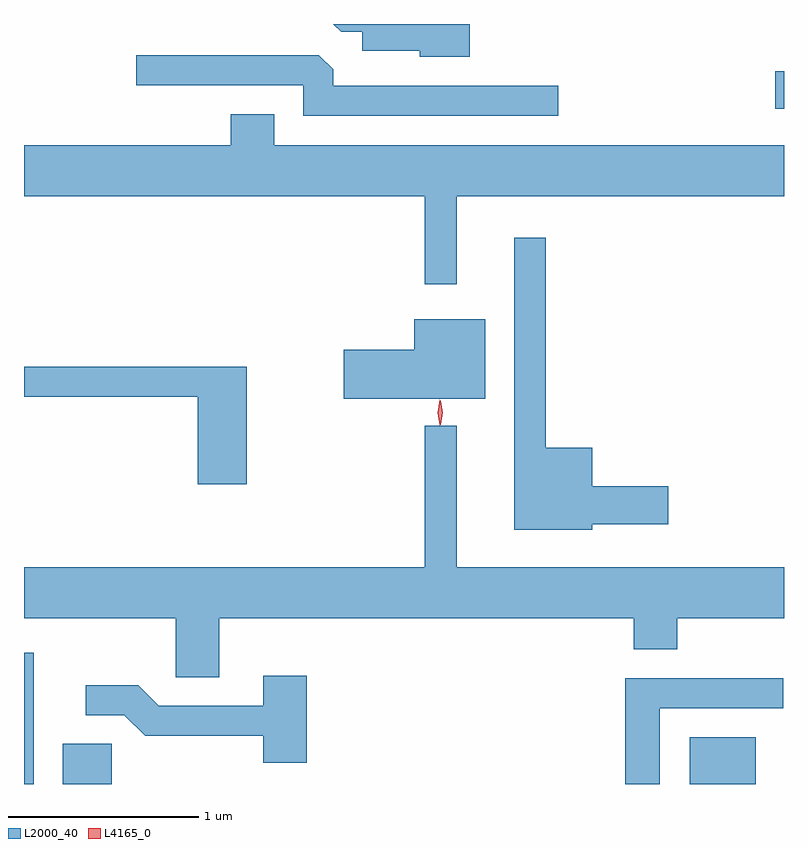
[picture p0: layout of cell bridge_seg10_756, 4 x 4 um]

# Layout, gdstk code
import gdstk
lib = gdstk.Library(unit=1e-6, precision=1e-09)
def R(c, l, rs):  # rectangles x0, y0, x1, y1
    for r in rs: c.add(gdstk.rectangle(r[:2], r[2:], *l))
def P(c, l, *ps):  # polygons
    for p in ps: c.add(gdstk.Polygon(p, *l))
L2000_40 = (2000, 40)
L4165_0 = (4165, 0)

bridge_seg10_756 = lib.new_cell('bridge_seg10_756')
R(bridge_seg10_756, L2000_40, [(524.412,2166.323,524.464,2167.013), (524.616,2166.323,524.874,2166.534), (527.916,2166.323,528.264,2166.569), (528.366,2169.876,528.412,2170.074)])
P(bridge_seg10_756, L2000_40, [(526.759,2170.323),(526.04,2170.323),(526.082,2170.281),(526.191,2170.281),(526.191,2170.181),(526.496,2170.181),(526.496,2170.151),(526.759,2170.151)],
  [(527.223,2169.999),(526.039,2169.999),(526.039,2170.084),(525.964,2170.159),(525.003,2170.159),(525.003,2170.001),(525.881,2170.001),(525.881,2169.841),(527.223,2169.841)],
  [(526.689,2169.416),(528.412,2169.416),(528.412,2169.684),(525.729,2169.684),(525.729,2169.849),(525.501,2169.849),(525.501,2169.684),(524.412,2169.684),(524.412,2169.416),(526.521,2169.416),(526.521,2168.953),(526.689,2168.953)],
  [(527.404,2167.691),(527.804,2167.691),(527.804,2167.889),(527.404,2167.889),(527.404,2168.094),(527.159,2168.094),(527.159,2169.198),(526.991,2169.198),(526.991,2167.661),(527.404,2167.661)],
  [(526.839,2168.769),(526.466,2168.769),(526.466,2168.609),(526.096,2168.609),(526.096,2168.351),(526.839,2168.351)],
  [(525.584,2168.519),(524.412,2168.519),(524.412,2168.361),(525.326,2168.361),(525.326,2167.901),(525.584,2167.901)],
  [(525.439,2167.196),(527.621,2167.196),(527.621,2167.031),(527.849,2167.031),(527.849,2167.196),(528.412,2167.196),(528.412,2167.464),(526.689,2167.464),(526.689,2168.208),(526.521,2168.208),(526.521,2167.464),(524.412,2167.464),(524.412,2167.196),(525.211,2167.196),(525.211,2166.886),(525.439,2166.886)],
  [(525.899,2166.894),(525.671,2166.894),(525.671,2166.734),(525.122,2166.734),(525.012,2166.844),(524.738,2166.844),(524.738,2166.686),(524.939,2166.686),(525.049,2166.576),(525.671,2166.576),(525.671,2166.436),(525.899,2166.436)],
  [(527.759,2166.721),(528.408,2166.721),(528.408,2166.879),(527.576,2166.879),(527.576,2166.323),(527.759,2166.323)])
P(bridge_seg10_756, L4165_0, [(526.6,2168.21),(526.6,2168.21),(526.59,2168.278),(526.599,2168.345),(526.6,2168.346),(526.6,2168.345),(526.61,2168.278),(526.601,2168.21)],
  [(526.604,2168.213),(526.595,2168.276),(526.604,2168.34),(526.605,2168.34),(526.606,2168.34),(526.615,2168.276),(526.606,2168.213),(526.605,2168.213)])

lib.write_gds('bridge_seg10_756.gds')
